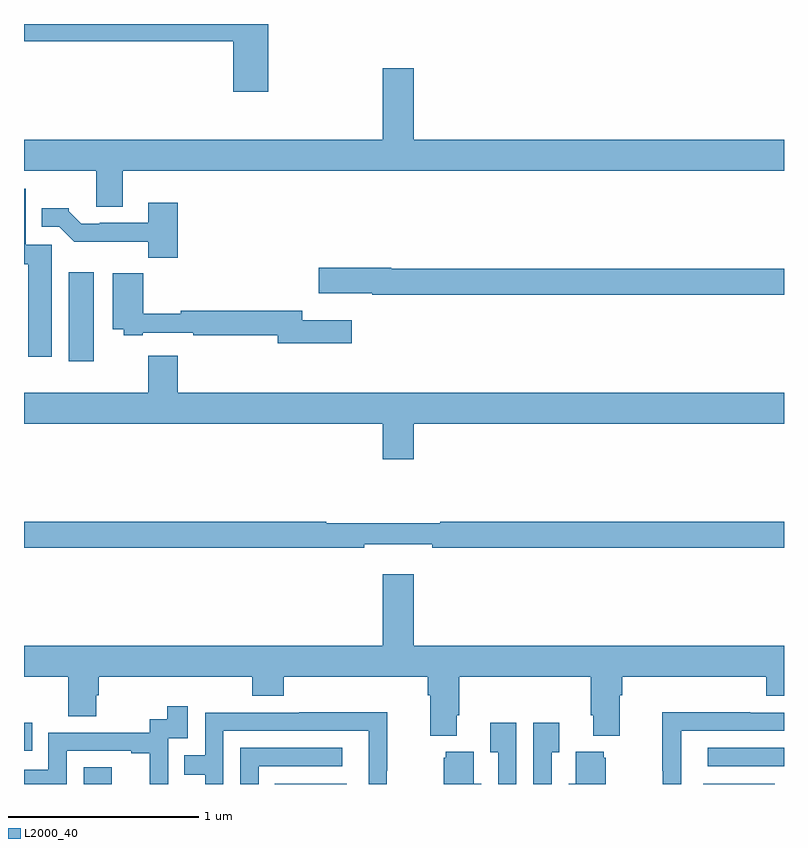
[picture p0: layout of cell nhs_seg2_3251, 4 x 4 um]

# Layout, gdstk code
import gdstk
lib = gdstk.Library(unit=1e-6, precision=1e-09)
def R(c, l, rs):  # rectangles x0, y0, x1, y1
    for r in rs: c.add(gdstk.rectangle(r[:2], r[2:], *l))
def P(c, l, *ps):  # polygons
    for p in ps: c.add(gdstk.Polygon(p, *l))
L2000_40 = (2000, 40)

nhs_seg2_3251 = lib.new_cell('nhs_seg2_3251')
R(nhs_seg2_3251, L2000_40, [(283.314,585.8,283.462,585.889), (284.32,585.8,284.698,585.802), (286.574,585.8,286.952,585.802), (286.599,585.894,287,585.99), (283,585.975,283.043,586.123), (283.235,588.024,283.366,588.493)])
P(nhs_seg2_3251, L2000_40, [(284.285,589.8),(283,589.8),(283,589.708),(284.102,589.708),(284.102,589.443),(284.285,589.443)],
  [(283.519,589.028),(287,589.028),(287,589.192),(285.052,589.192),(285.052,589.567),(284.888,589.567),(284.888,589.192),(283,589.192),(283,589.028),(283.379,589.028),(283.379,588.838),(283.519,588.838)],
  [(283.147,588.639),(283.009,588.639),(283.009,588.934),(283,588.934),(283,588.536),(283.022,588.536),(283.022,588.048),(283.147,588.048)],
  [(283.808,588.859),(283.655,588.859),(283.655,588.753),(283.399,588.753),(283.399,588.75),(283.3,588.75),(283.236,588.814),(283.236,588.829),(283.094,588.829),(283.094,588.732),(283.185,588.732),(283.264,588.654),(283.653,588.654),(283.653,588.569),(283.808,588.569)],
  [(287,588.512),(284.934,588.512),(284.934,588.518),(284.55,588.518),(284.55,588.383),(284.834,588.383),(284.834,588.376),(287,588.376)],
  [(284.725,588.241),(284.464,588.241),(284.464,588.29),(283.826,588.29),(283.826,588.275),(283.628,588.275),(283.628,588.487),(283.466,588.487),(283.466,588.194),(283.524,588.194),(283.524,588.162),(283.624,588.162),(283.624,588.174),(283.891,588.174),(283.891,588.162),(284.336,588.162),(284.336,588.119),(284.725,588.119)],
  [(285.052,587.696),(287,587.696),(287,587.86),(283.808,587.86),(283.808,588.055),(283.655,588.055),(283.655,587.86),(283,587.86),(283,587.696),(284.888,587.696),(284.888,587.508),(285.052,587.508)],
  [(284.792,587.063),(285.148,587.063),(285.148,587.044),(287,587.044),(287,587.18),(285.19,587.18),(285.19,587.173),(284.59,587.173),(284.59,587.18),(283,587.18),(283,587.044),(284.792,587.044)],
  [(285.277,586.162),(285.29,586.162),(285.29,586.364),(285.983,586.364),(285.983,586.162),(285.995,586.162),(285.995,586.055),(286.135,586.055),(286.135,586.268),(286.148,586.268),(286.148,586.364),(286.907,586.364),(286.907,586.265),(287,586.265),(287,586.528),(285.052,586.528),(285.052,586.903),(284.888,586.903),(284.888,586.528),(283,586.528),(283,586.364),(283.234,586.364),(283.234,586.156),(283.381,586.156),(283.381,586.266),(283.394,586.266),(283.394,586.364),(284.201,586.364),(284.201,586.265),(284.366,586.265),(284.366,586.364),(285.125,586.364),(285.125,586.268),(285.137,586.268),(285.137,586.055),(285.277,586.055)],
  [(283.224,585.975),(283.565,585.975),(283.565,585.963),(283.661,585.963),(283.661,585.8),(283.76,585.8),(283.76,585.812),(283.758,585.812),(283.758,586.041),(283.863,586.041),(283.863,586.21),(283.755,586.21),(283.755,586.14),(283.662,586.14),(283.662,586.071),(283.128,586.071),(283.128,585.876),(283,585.876),(283,585.8),(283.224,585.8)],
  [(286.458,586.08),(287,586.08),(287,586.176),(286.823,586.176),(286.823,586.178),(286.36,586.178),(286.36,585.871),(286.362,585.871),(286.362,585.8),(286.458,585.8)],
  [(284.049,586.08),(284.814,586.08),(284.814,585.8),(284.91,585.8),(284.91,585.871),(284.913,585.871),(284.913,586.178),(284.449,586.178),(284.449,586.176),(283.953,586.176),(283.953,585.951),(283.843,585.951),(283.843,585.85),(283.953,585.85),(283.953,585.8),(284.049,585.8)],
  [(285.777,585.967),(285.817,585.967),(285.817,586.123),(285.681,586.123),(285.681,585.8),(285.777,585.8)],
  [(285.591,586.123),(285.455,586.123),(285.455,585.967),(285.495,585.967),(285.495,585.8),(285.591,585.8)],
  [(284.235,585.894),(284.674,585.894),(284.674,585.99),(284.139,585.99),(284.139,585.8),(284.235,585.8)],
  [(286.063,585.939),(286.052,585.939),(286.052,585.97),(285.905,585.97),(285.905,585.802),(285.866,585.802),(285.866,585.8),(286.063,585.8)],
  [(285.406,585.802),(285.367,585.802),(285.367,585.97),(285.221,585.97),(285.221,585.939),(285.209,585.939),(285.209,585.8),(285.406,585.8)])

lib.write_gds('nhs_seg2_3251.gds')
